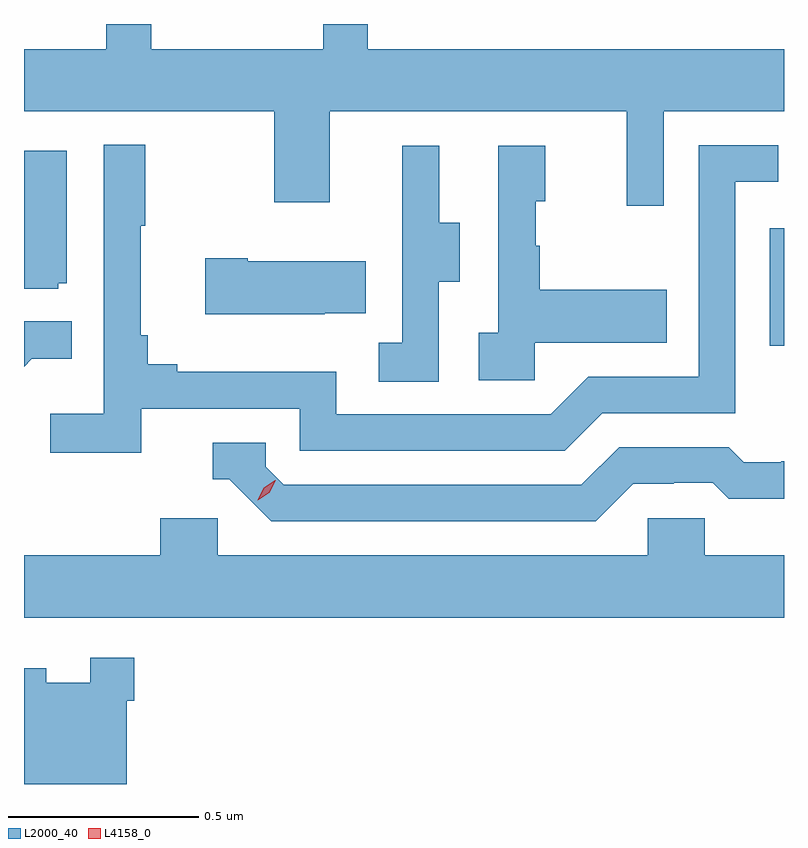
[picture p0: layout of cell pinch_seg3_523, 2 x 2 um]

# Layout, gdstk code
import gdstk
lib = gdstk.Library(unit=1e-6, precision=1e-09)
def R(c, l, rs):  # rectangles x0, y0, x1, y1
    for r in rs: c.add(gdstk.rectangle(r[:2], r[2:], *l))
def P(c, l, *ps):  # polygons
    for p in ps: c.add(gdstk.Polygon(p, *l))
L2000_40 = (2000, 40)
L4158_0 = (4158, 0)

pinch_seg3_523 = lib.new_cell('pinch_seg3_523')
R(pinch_seg3_523, L2000_40, [(966.774,685.647,966.812,685.956)])
P(pinch_seg3_523, L2000_40, [(966.495,686.264),(966.812,686.264),(966.812,686.428),(965.717,686.428),(965.717,686.494),(965.6,686.494),(965.6,686.428),(965.147,686.428),(965.147,686.494),(965.029,686.494),(965.029,686.428),(964.812,686.428),(964.812,686.264),(965.47,686.264),(965.47,686.025),(965.617,686.025),(965.617,686.264),(966.398,686.264),(966.398,686.016),(966.495,686.016)],
  [(965.12,685.482),(965.538,685.482),(965.538,685.371),(966.235,685.371),(966.334,685.47),(966.684,685.47),(966.684,686.079),(966.797,686.079),(966.797,686.175),(966.588,686.175),(966.588,685.566),(966.297,685.566),(966.198,685.467),(965.634,685.467),(965.634,685.579),(965.215,685.579),(965.215,685.598),(965.138,685.598),(965.138,685.675),(965.119,685.675),(965.119,685.963),(965.131,685.963),(965.131,686.176),(965.022,686.176),(965.022,685.468),(964.881,685.468),(964.881,685.366),(965.12,685.366)],
  [(966.156,685.655),(966.503,685.655),(966.503,685.795),(966.169,685.795),(966.169,685.91),(966.159,685.91),(966.159,686.028),(966.184,686.028),(966.184,686.173),(966.06,686.173),(966.06,685.682),(966.009,685.682),(966.009,685.557),(966.156,685.557)],
  [(965.904,685.816),(965.959,685.816),(965.959,685.971),(965.905,685.971),(965.905,686.173),(965.807,686.173),(965.807,685.959),(965.808,685.959),(965.808,685.655),(965.745,685.655),(965.745,685.552),(965.904,685.552)],
  [(964.902,685.812),(964.924,685.812),(964.924,686.161),(964.812,686.161),(964.812,685.797),(964.902,685.797)],
  [(965.603,685.733),(965.711,685.733),(965.711,685.87),(965.401,685.87),(965.401,685.878),(965.289,685.878),(965.289,685.73),(965.603,685.73)],
  [(964.833,685.613),(964.937,685.613),(964.937,685.712),(964.812,685.712),(964.812,685.592)],
  [(966.415,685.284),(966.522,685.284),(966.522,685.287),(966.625,685.287),(966.667,685.245),(966.812,685.245),(966.812,685.344),(966.805,685.344),(966.805,685.341),(966.706,685.341),(966.667,685.38),(966.378,685.38),(966.279,685.281),(965.496,685.281),(965.448,685.329),(965.448,685.392),(965.309,685.392),(965.309,685.296),(965.352,685.296),(965.463,685.185),(966.316,685.185)],
  [(966.812,685.096),(966.603,685.096),(966.603,685.194),(966.453,685.194),(966.453,685.096),(965.322,685.096),(965.322,685.194),(965.171,685.194),(965.171,685.096),(964.812,685.096),(964.812,684.932),(966.812,684.932)],
  [(965.082,684.713),(965.102,684.713),(965.102,684.826),(964.986,684.826),(964.986,684.76),(964.87,684.76),(964.87,684.799),(964.812,684.799),(964.812,684.494),(965.082,684.494)])
P(pinch_seg3_523, L4158_0, [(965.427,685.241),(965.427,685.242),(965.443,685.274),(965.473,685.293),(965.474,685.293),(965.474,685.293),(965.458,685.261),(965.427,685.241)])

lib.write_gds('pinch_seg3_523.gds')
